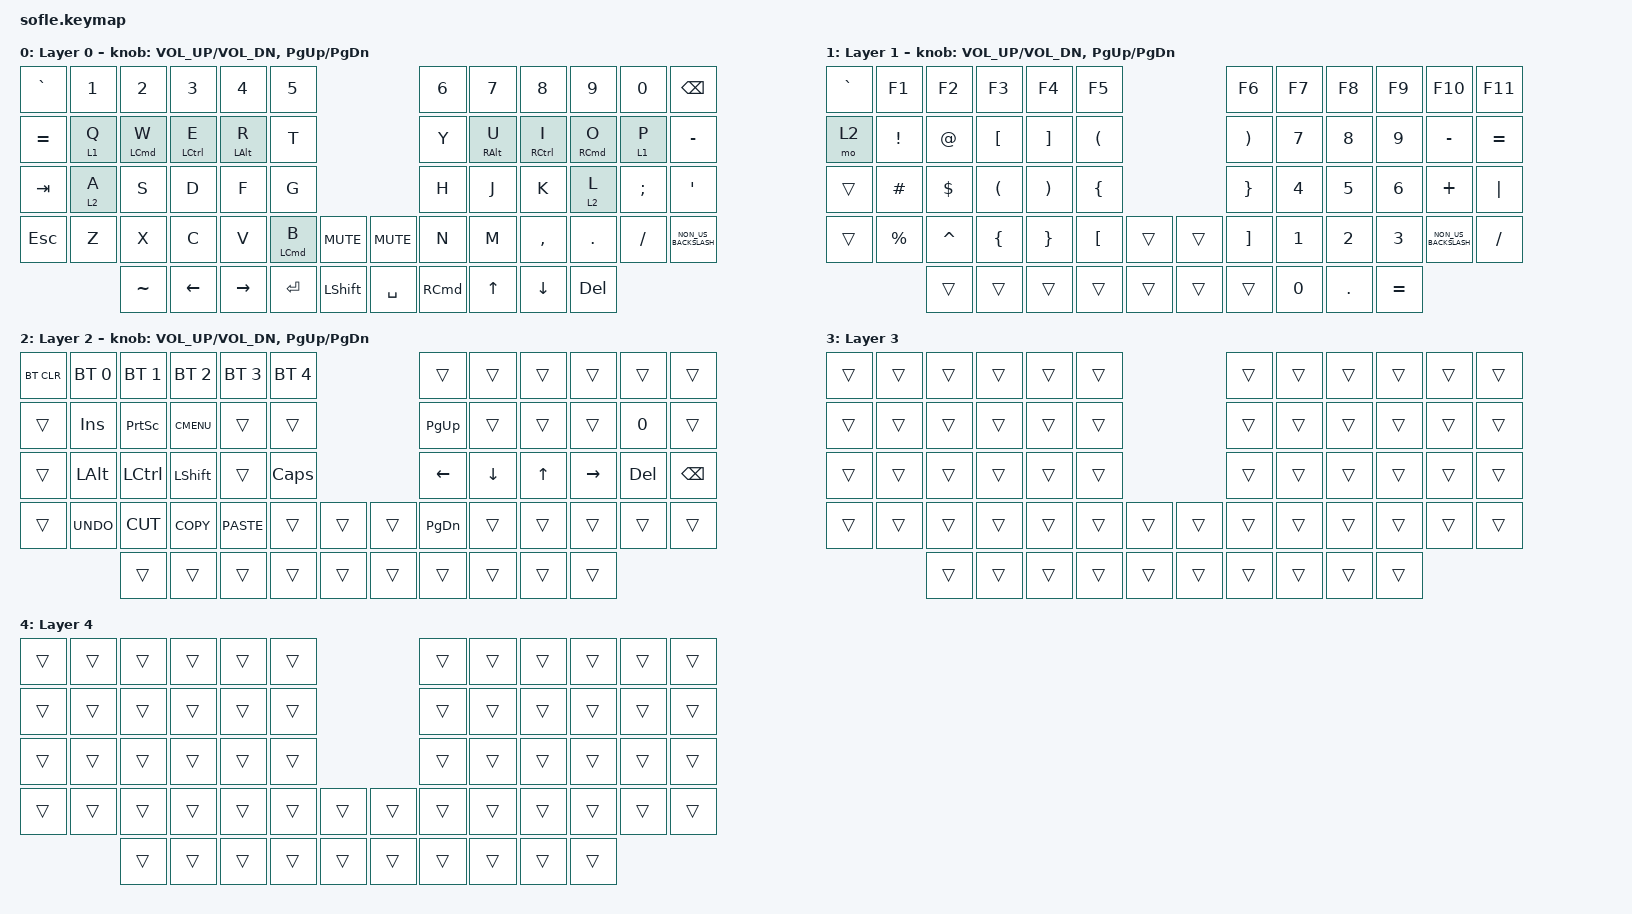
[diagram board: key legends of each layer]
/*
 * Copyright (c) 2020 The ZMK Contributors
 *
 * SPDX-License-Identifier: MIT
 */

#include <behaviors.dtsi>
#include <dt-bindings/zmk/bt.h>
#include <dt-bindings/zmk/keys.h>

&nice_view_spi { cs-gpios = <&pro_micro 0 GPIO_ACTIVE_HIGH>; };

/ {
    behaviors {
        hold_tap: hold_tap {
            compatible = "zmk,behavior-hold-tap";
            label = "HOLD_TAP";
            bindings = <&kp>, <&kp>;

            #binding-cells = <2>;
            flavor = "tap-preferred";
            tapping-term-ms = <200>;
            retro-tap;
        };

        sticky_modifier: sticky_modifier {
            compatible = "zmk,behavior-sticky-key";
            label = "STICKY_MODIFIER";
            bindings = <&mo>;
            #binding-cells = <1>;
            release-after-ms = <1000>;
            quick-release;
            lazy;
            ignore-modifiers;
        };
    };

    keymap {
        compatible = "zmk,keymap";

        default_layer {
            display-name = "Layer 0";

            // ------------------------------------------------------------------------------------------------------------
            // |  `    |  1  |  2  |  3   |  4   |  5   |                   |  6   |  7    |  8    |  9   |   0   |       |
            // |  ESC  |  Q  |  W  |  E   |  R   |  T   |                   |  Y   |  U    |  I    |  O   |   P   | BKSPC |
            // |  TAB  |  A  |  S  |  D   |  F   |  G   |                   |  H   |  J    |  K    |  L   |   ;   |   '   |
            // | SHIFT |  Z  |  X  |  C   |  V   |  B   |  MUTE  |  |       |  N   |  M    |  ,    |  .   |   /   | SHIFT |
            //               | GUI | ALT  | CTRL | LOWER|  ENTER |  | SPACE | RAISE| CTRL  | ALT   | GUI  |

            bindings = <
&kp GRAVE   &kp N1   &kp N2                    &kp N3                    &kp N4                &kp N5                                                  &kp N6             &kp N7                 &kp N8                     &kp N9                     &kp N0    &kp BACKSPACE
&kp EQUAL   &lt 1 Q  &hold_tap LEFT_COMMAND W  &hold_tap LEFT_CONTROL E  &hold_tap LEFT_ALT R  &kp T                                                   &kp Y              &hold_tap RIGHT_ALT U  &hold_tap RIGHT_CONTROL I  &hold_tap RIGHT_COMMAND O  &lt 1 P   &kp MINUS
&kp TAB     &lt 2 A  &kp S                     &kp D                     &kp F                 &kp G                                                   &kp H              &kp J                  &kp K                      &lt 2 L                    &kp SEMI  &kp SQT
&kp ESCAPE  &kp Z    &kp X                     &kp C                     &kp V                 &hold_tap LEFT_COMMAND B  &kp C_MUTE        &kp C_MUTE  &kp N              &kp M                  &kp COMMA                  &kp DOT                    &kp FSLH  &kp NON_US_BACKSLASH
                     &kp TILDE                 &kp LEFT_ARROW            &kp RIGHT             &kp ENTER                 &kp LEFT_SHIFT    &kp SPACE   &kp RIGHT_COMMAND  &kp UP_ARROW           &kp DOWN_ARROW             &kp DELETE
            >;

            sensor-bindings = <&inc_dec_kp C_VOL_UP C_VOL_DN &inc_dec_kp PG_UP PG_DN>;
        };

        lower_layer {
            display-name = "Layer 1";

            // TODO: Some binds are waiting for shifted keycode support.
            // ------------------------------------------------------------------------------------------------------------
            // | `     |  F1 |  F2 |  F3  |  F4  |  F5  |                   |  F6  |  F7   |  F8   |  F9  |  F10  |  F11  |
            // | RAISE |   1 |   2 |   3  |   4  |   5  |                   |   6  |   7   |   8   |   9  |    0  |  F12  |
            // |       |  !  |  @  |  #   |  $   |  %   |                   |  ^   |  &    |  *    |  (   |   )   |   |   |
            // |       |  =  |  -  |  +   |  {   |  }   |        |  |       |  [   |  ]    |  ;    |  :   |   \   |       |
            //               |     |      |      |      |        |  |       |      |       |       |      |

            bindings = <
&kp GRAVE  &kp F1           &kp F2       &kp F3                &kp F4                 &kp F5                                  &kp F6                 &kp F7        &kp F8        &kp F9        &kp F10               &kp F11
&mo 2      &kp EXCLAMATION  &kp AT_SIGN  &kp LEFT_BRACKET      &kp RIGHT_BRACKET      &kp LEFT_PARENTHESIS                    &kp RIGHT_PARENTHESIS  &kp N7        &kp N8        &kp N9        &kp MINUS             &kp EQUAL
&trans     &kp HASH         &kp DOLLAR   &kp LEFT_PARENTHESIS  &kp RIGHT_PARENTHESIS  &kp LEFT_BRACE                          &kp RIGHT_BRACE        &kp NUMBER_4  &kp N5        &kp NUMBER_6  &kp PLUS              &kp PIPE
&trans     &kp PERCENT      &kp CARET    &kp LEFT_BRACE        &kp RIGHT_BRACE        &kp LEFT_BRACKET      &trans    &trans  &kp RIGHT_BRACKET      &kp NUMBER_1  &kp NUMBER_2  &kp NUMBER_3  &kp NON_US_BACKSLASH  &kp SLASH
                            &trans       &trans                &trans                 &trans                &trans    &trans  &trans                 &kp N0        &kp PERIOD    &kp EQUAL
            >;

            sensor-bindings = <&inc_dec_kp C_VOL_UP C_VOL_DN &inc_dec_kp PG_UP PG_DN>;
        };

        raise_layer {
            display-name = "Layer 2";

            // ------------------------------------------------------------------------------------------------------------
            // |BTCLR| BT1  | BT2  |  BT3  |  BT4  |  BT5 |                |      |      |       |      |       |       |
            // |     | INS  | PSCR | GUI   |       |      |                | PGUP |      |       |      |       |       |
            // |     | ALT  | CTRL | SHIFT |       | CAPS |                |  <-  |   v  |   ^   |  ->  |  DEL  | BKSPC |
            // |     | UNDO | CUT  | COPY  | PASTE |      |      |  |      |      |      |       |      |       |       |
            //              |      |       |       |      |      |  |      |      |      |       |      |

            bindings = <
&bt BT_CLR  &bt BT_SEL 0  &bt BT_SEL 1  &bt BT_SEL 2  &bt BT_SEL 3  &bt BT_SEL 4                    &trans         &trans    &trans  &trans     &trans   &trans
&trans      &kp INS       &kp PSCRN     &kp K_CMENU   &trans        &trans                          &kp PG_UP      &trans    &trans  &trans     &kp N0   &trans
&trans      &kp LALT      &kp LCTRL     &kp LSHFT     &trans        &kp CLCK                        &kp LEFT       &kp DOWN  &kp UP  &kp RIGHT  &kp DEL  &kp BSPC
&trans      &kp K_UNDO    &kp K_CUT     &kp K_COPY    &kp K_PASTE   &trans        &trans    &trans  &kp PAGE_DOWN  &trans    &trans  &trans     &trans   &trans
                          &trans        &trans        &trans        &trans        &trans    &trans  &trans         &trans    &trans  &trans
            >;

            sensor-bindings = <&inc_dec_kp C_VOL_UP C_VOL_DN &inc_dec_kp PG_UP PG_DN>;
        };

        layer_3 {
            display-name = "Layer 3";
            bindings = <
&trans  &trans  &trans  &trans  &trans  &trans                    &trans  &trans  &trans  &trans  &trans  &trans
&trans  &trans  &trans  &trans  &trans  &trans                    &trans  &trans  &trans  &trans  &trans  &trans
&trans  &trans  &trans  &trans  &trans  &trans                    &trans  &trans  &trans  &trans  &trans  &trans
&trans  &trans  &trans  &trans  &trans  &trans  &trans    &trans  &trans  &trans  &trans  &trans  &trans  &trans
                &trans  &trans  &trans  &trans  &trans    &trans  &trans  &trans  &trans  &trans
            >;
        };

        layer_4 {
            display-name = "Layer 4";
            bindings = <
&trans  &trans  &trans  &trans  &trans  &trans                    &trans  &trans  &trans  &trans  &trans  &trans
&trans  &trans  &trans  &trans  &trans  &trans                    &trans  &trans  &trans  &trans  &trans  &trans
&trans  &trans  &trans  &trans  &trans  &trans                    &trans  &trans  &trans  &trans  &trans  &trans
&trans  &trans  &trans  &trans  &trans  &trans  &trans    &trans  &trans  &trans  &trans  &trans  &trans  &trans
                &trans  &trans  &trans  &trans  &trans    &trans  &trans  &trans  &trans  &trans
            >;
        };
    };
};
